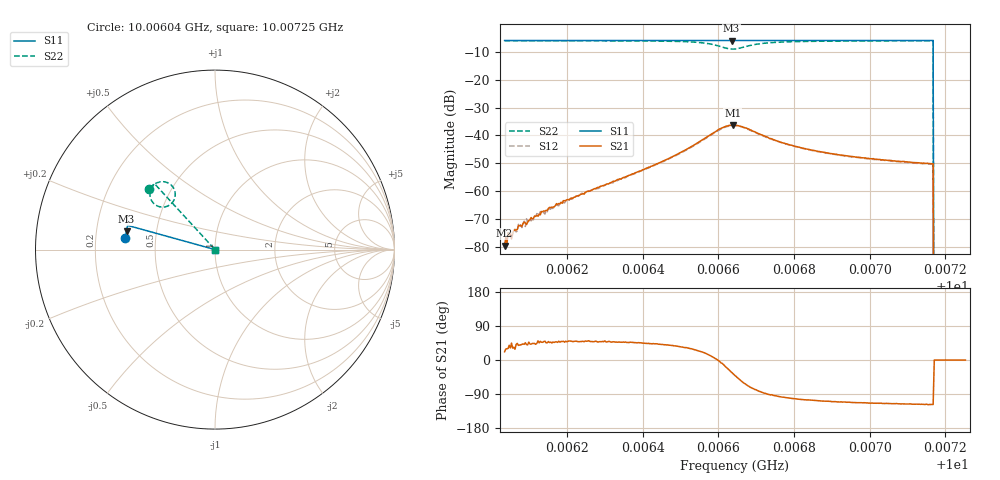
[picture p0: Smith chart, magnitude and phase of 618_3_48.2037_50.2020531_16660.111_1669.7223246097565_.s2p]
#  HZ  S  RI  R  50.00
! Rohde & Schwarz Vector Network Analyzer
! Rohde-Schwarz,ZNB20-2Port,1311601062101988,3.16
! Created: UTC 3/20/2024, 12:03:48 PM
! freq[Hz]  re:S11  im:S11  re:S21  im:S21  re:S12  im:S12  re:S22  im:S22
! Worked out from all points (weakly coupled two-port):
!   401 points, 10.00604 GHz to 10.00725 GHz, reference 50 ohm
!   highest |S21| = -36.31 dB at 10.00664 GHz (marker M1); lowest = -79.5 dB at 10.00604 GHz (marker M2)
!   lowest |S11| = -6.0 dB at 10.00664 GHz (marker M3), VSWR 3.02, Z = 16.7 + j4.51 ohm
!   |S11| at or under -10 dB: 10.00717 GHz to end of sweep
!   |S22| runs from - to -6.0 dB; largest |S21 - S12| = 0.0011
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1.0006035e10  -0.4992 0.0627  9.8e-05 3.91e-05  8.19e-05 6.19e-05  -0.3662 0.3381
1.0006044e10  -0.4992 0.0634  0.000155 9.14e-05  0.000147 3.34e-05  -0.3657 0.3388
1.0006047e10  -0.4991 0.0635  0.000121 9.69e-05  0.000135 8.75e-05  -0.3656 0.3391
1.0006066e10  -0.4988 0.0646  0.000152 0.000133  0.000139 0.000122  -0.3644 0.3403
1.000609e10  -0.4988 0.0663  0.000187 0.00019  0.00016 0.000167  -0.363 0.3418
1.0006123e10  -0.4985 0.0685  0.000225 0.000273  0.000274 0.000272  -0.3608 0.3442
1.0006157e10  -0.4983 0.0707  0.000345 0.000373  0.000302 0.000383  -0.3585 0.3467
1.0006239e10  -0.4975 0.076  0.000577 0.00066  0.000581 0.000709  -0.3521 0.3529
1.0006443e10  -0.4957 0.0894  0.00239 0.00211  0.00223 0.0022  -0.3229 0.3724
1.0006495e10  -0.4953 0.0928  0.00382 0.00275  0.00359 0.00288  -0.3057 0.3773
1.0006568e10  -0.4938 0.0976  0.00876 0.00266  0.0084 0.00302  -0.2564 0.3686
1.0006605e10  -0.4929 0.0998  0.0131 -0.00108  0.0127 -0.000456  -0.2237 0.326
1.0006635e10  -0.4924 0.1009  0.0128 -0.00805  0.0131 -0.00717  -0.238 0.2619
1.0006638e10  -0.4925 0.101  0.0125 -0.00887  0.0126 -0.00792  -0.2429 0.2565
1.0006644e10  -0.4925 0.1014  0.0114 -0.00994  0.0119 -0.00908  -0.2545 0.2476
1.0006711e10  -0.4928 0.1051  0.0012 -0.0104  0.00175 -0.0101  -0.351 0.2692
1.0006772e10  -0.4922 0.1094  -0.00102 -0.00723  -0.00067 -0.00719  -0.3624 0.3065
1.0006848e10  -0.4914 0.1145  -0.00151 -0.00522  -0.00125 -0.00521  -0.359 0.3305
1.0007052e10  -0.4886 0.1275  -0.00152 -0.00323  -0.00132 -0.00324  -0.3445 0.3585
1.0007162e10  -0.4872 0.1345  -0.00143 -0.00275  -0.00128 -0.00275  -0.3376 0.3674
1.0007177e10  0 0  0 0  0 0  0 0
1.0007253e10  0 0  0 0  0 0  0 0
